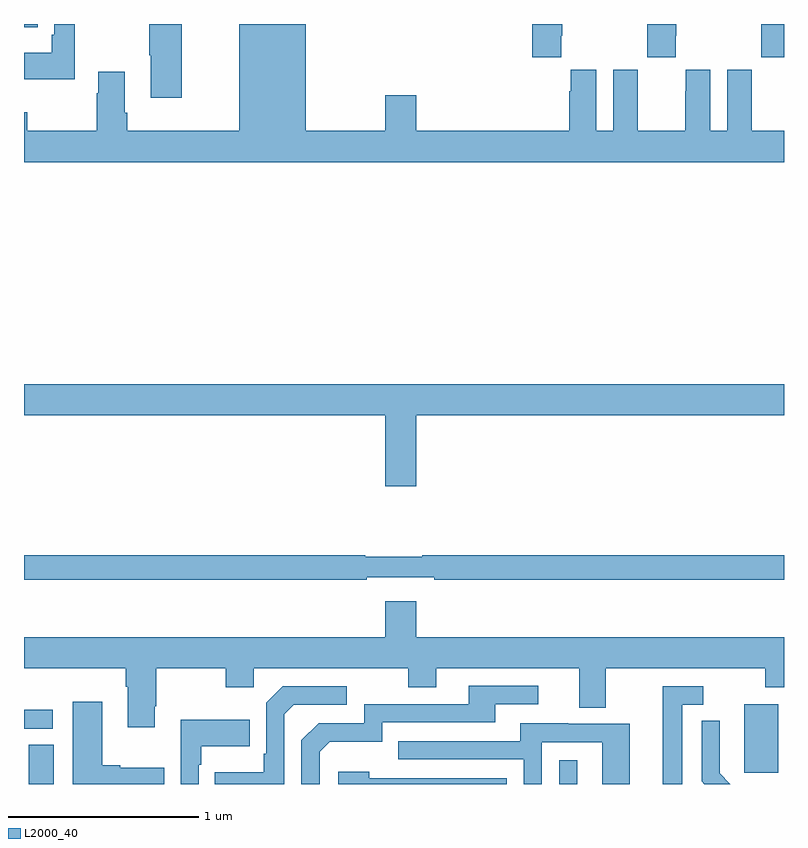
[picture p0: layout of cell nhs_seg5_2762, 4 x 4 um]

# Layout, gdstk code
import gdstk
lib = gdstk.Library(unit=1e-6, precision=1e-09)
def R(c, l, rs):  # rectangles x0, y0, x1, y1
    for r in rs: c.add(gdstk.rectangle(r[:2], r[2:], *l))
def P(c, l, *ps):  # polygons
    for p in ps: c.add(gdstk.Polygon(p, *l))
L2000_40 = (2000, 40)

nhs_seg5_2762 = lib.new_cell('nhs_seg5_2762')
R(nhs_seg5_2762, L2000_40, [(271.025,874.799,271.156,875.006), (273.816,874.799,273.913,874.924), (274.79,874.857,274.969,875.218), (271,875.091,271.15,875.19), (271,878.783,271.073,878.799)])
P(nhs_seg5_2762, L2000_40, [(273.878,878.557),(273.878,878.444),(273.869,878.444),(273.869,878.236),(273.064,878.236),(273.064,878.425),(272.9,878.425),(272.9,878.236),(272.482,878.236),(272.482,878.799),(272.132,878.799),(272.132,878.236),(271.544,878.236),(271.544,878.332),(271.531,878.332),(271.531,878.548),(271.391,878.548),(271.391,878.435),(271.384,878.435),(271.384,878.236),(271.017,878.236),(271.017,878.335),(271,878.335),(271,878.072),(275,878.072),(275,878.236),(274.831,878.236),(274.831,878.444),(274.83,878.444),(274.83,878.557),(274.7,878.557),(274.7,878.236),(274.612,878.236),(274.612,878.557),(274.482,878.557),(274.482,878.444),(274.481,878.444),(274.481,878.236),(274.231,878.236),(274.231,878.444),(274.23,878.444),(274.23,878.557),(274.1,878.557),(274.1,878.236),(274.012,878.236),(274.012,878.557)],
  [(271.267,878.799),(271.158,878.799),(271.158,878.743),(271.146,878.743),(271.146,878.647),(271,878.647),(271,878.507),(271.267,878.507)],
  [(271.83,878.799),(271.66,878.799),(271.66,878.635),(271.667,878.635),(271.667,878.412),(271.83,878.412)],
  [(273.827,878.737),(273.834,878.737),(273.834,878.799),(273.674,878.799),(273.674,878.625),(273.827,878.625)],
  [(274.431,878.737),(274.434,878.737),(274.434,878.799),(274.279,878.799),(274.279,878.737),(274.281,878.737),(274.281,878.625),(274.431,878.625)],
  [(275,878.799),(274.879,878.799),(274.879,878.737),(274.881,878.737),(274.881,878.625),(275,878.625)],
  [(273.064,876.74),(275,876.74),(275,876.904),(271,876.904),(271,876.74),(272.9,876.74),(272.9,876.366),(273.064,876.366)],
  [(272.804,875.886),(273.16,875.886),(273.16,875.874),(275,875.874),(275,876.002),(273.095,876.002),(273.095,875.995),(272.795,875.995),(272.795,876.002),(271,876.002),(271,875.874),(272.804,875.874)],
  [(271.687,875.209),(271.695,875.209),(271.695,875.408),(272.062,875.408),(272.062,875.309),(272.208,875.309),(272.208,875.408),(273.022,875.408),(273.022,875.309),(273.169,875.309),(273.169,875.408),(273.923,875.408),(273.923,875.2),(274.063,875.2),(274.063,875.408),(274.9,875.408),(274.9,875.309),(275,875.309),(275,875.572),(273.064,875.572),(273.064,875.761),(272.9,875.761),(272.9,875.572),(271,875.572),(271,875.408),(271.535,875.408),(271.535,875.312),(271.547,875.312),(271.547,875.097),(271.687,875.097)],
  [(272.556,874.968),(272.609,875.021),(272.886,875.021),(272.886,875.124),(273.481,875.124),(273.481,875.22),(273.706,875.22),(273.706,875.316),(273.341,875.316),(273.341,875.22),(272.79,875.22),(272.79,875.118),(272.55,875.118),(272.46,875.028),(272.46,874.799),(272.556,874.799)],
  [(272.37,875.166),(272.421,875.217),(272.698,875.217),(272.698,875.313),(272.361,875.313),(272.274,875.226),(272.274,874.957),(272.262,874.957),(272.262,874.861),(272.005,874.861),(272.005,874.799),(272.37,874.799)],
  [(274.465,875.217),(274.576,875.217),(274.576,875.313),(274.361,875.313),(274.361,874.799),(274.465,874.799)],
  [(271.738,874.885),(271.507,874.885),(271.507,874.898),(271.411,874.898),(271.411,875.233),(271.256,875.233),(271.256,874.799),(271.738,874.799)],
  [(271.92,874.901),(271.933,874.901),(271.933,874.997),(272.189,874.997),(272.189,875.137),(271.824,875.137),(271.824,874.799),(271.92,874.799)],
  [(274.661,874.856),(274.661,874.978),(274.662,874.978),(274.662,875.132),(274.566,875.132),(274.566,874.814),(274.581,874.799),(274.717,874.799)],
  [(273.726,875.019),(274.044,875.019),(274.044,874.799),(274.189,874.799),(274.189,875.115),(273.865,875.115),(273.865,875.119),(273.611,875.119),(273.611,875.025),(272.971,875.025),(272.971,874.929),(273.63,874.929),(273.63,874.799),(273.726,874.799)],
  [(273.54,874.83),(272.816,874.83),(272.816,874.864),(272.655,874.864),(272.655,874.799),(273.54,874.799)])

lib.write_gds('nhs_seg5_2762.gds')
